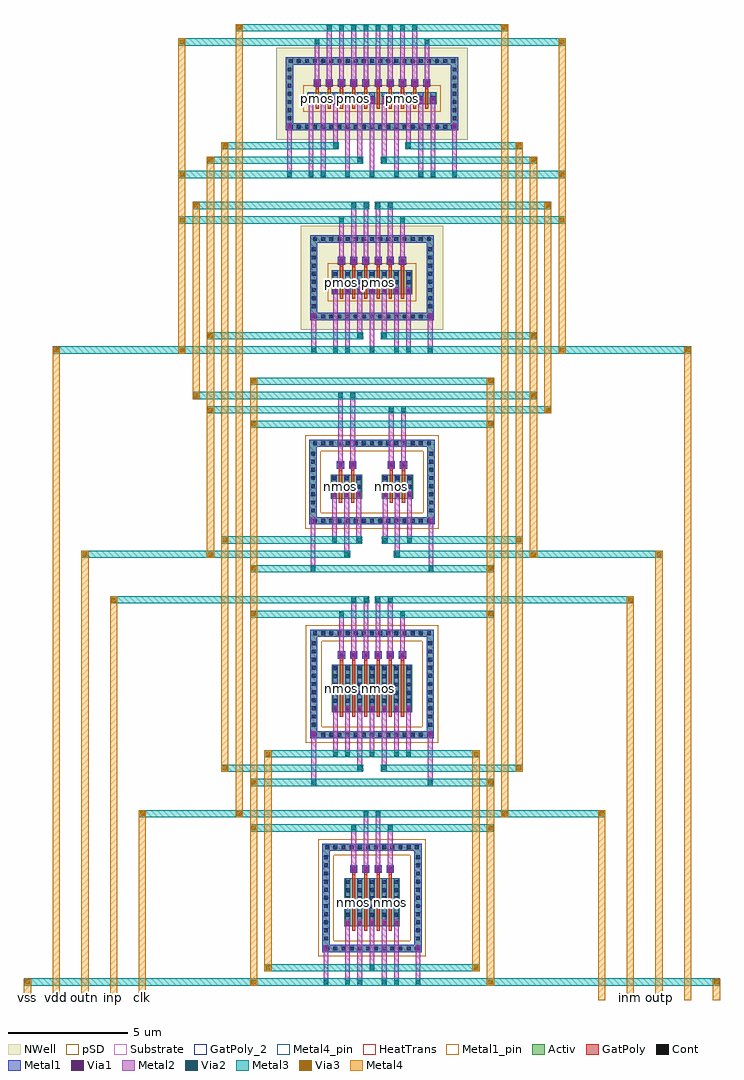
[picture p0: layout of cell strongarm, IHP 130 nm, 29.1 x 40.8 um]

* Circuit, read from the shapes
.subckt strongarm clk inm inp outn outp vdd vss
XM1 outn outp n1 vss sg13_lv_nmos w=1u l=0.13u m=2
XM2 n2 vss n2 vss sg13_lv_nmos w=2u l=0.13u m=2
XM3 vss vss vss vss sg13_lv_nmos w=2u l=0.13u m=2
XM4 n1 inp n2 vss sg13_lv_nmos w=2u l=0.13u m=2
XM5 n2 clk vss vss sg13_lv_nmos w=2u l=0.13u m=2
XM6 n3 inm n2 vss sg13_lv_nmos w=2u l=0.13u m=2
XM7 outp outn n3 vss sg13_lv_nmos w=1u l=0.13u m=2
XM8 vdd vdd vdd vdd sg13_lv_pmos w=0.5u l=0.13u m=2
XM9 n1 clk vdd vdd sg13_lv_pmos w=0.5u l=0.13u m=2
XM10 vdd vdd vdd vdd sg13_lv_pmos w=1u l=0.13u m=2
XM11 outn outp vdd vdd sg13_lv_pmos w=1u l=0.13u m=2
XM12 outn clk vdd vdd sg13_lv_pmos w=0.5u l=0.13u m=2
XM13 outp outn vdd vdd sg13_lv_pmos w=1u l=0.13u m=2
XM14 outp clk vdd vdd sg13_lv_pmos w=0.5u l=0.13u m=2
XM15 n3 clk vdd vdd sg13_lv_pmos w=0.5u l=0.13u m=2
.ends

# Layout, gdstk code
import gdstk
lib = gdstk.Library(unit=1e-6, precision=1e-09)
def R(c, l, rs):  # rectangles x0, y0, x1, y1
    for r in rs: c.add(gdstk.rectangle(r[:2], r[2:], *l))
def A(c, l, x, y, w, h, nx, ny, dx, dy):  # array of equal rectangles
    R(c, l, [(x+i*dx, y+j*dy, x+i*dx+w, y+j*dy+h) for i in range(nx) for j in range(ny)])
Activ = (1, 0)
GatPoly = (5, 0)
GatPoly_2 = (5, 2)
Cont = (6, 0)
Metal1 = (8, 0)
Metal1_pin = (8, 2)
Metal2 = (10, 0)
pSD = (14, 0)
Via1 = (19, 0)
Via2 = (29, 0)
Metal3 = (30, 0)
NWell = (31, 0)
Substrate = (40, 0)
Via3 = (49, 0)
Metal4 = (50, 0)
Metal4_pin = (50, 2)
HeatTrans = (51, 0)

strongarm = lib.new_cell('strongarm')
A(strongarm, Activ, 2.94, 2.48, 0.3, 0.3, 3, 1, 0.51, 0)
A(strongarm, Activ, 2.43, 11.42, 0.3, 0.3, 3, 2, 0.51, 17.48)
A(strongarm, Activ, 3.45, 11.42, 0.3, 0.3, 3, 2, 0.51, 17.48)
A(strongarm, Activ, 1.88, 20.36, 0.3, 0.3, 3, 1, 0.51, 0)
A(strongarm, Activ, 4, 20.36, 0.3, 0.3, 3, 1, 0.51, 0)
A(strongarm, Activ, 1.41, 36.84, 0.3, 0.3, 3, 1, 0.51, 0)
A(strongarm, Activ, 1.41, 36.84, 1.32, 0.5, 4, 1, 1.02, 0)
A(strongarm, Activ, 2.43, 36.84, 0.3, 0.3, 3, 1, 0.51, 0)
A(strongarm, Activ, 3.45, 36.84, 0.3, 0.3, 3, 1, 0.51, 0)
A(strongarm, Activ, 4.47, 36.84, 0.3, 0.3, 3, 1, 0.51, 0)
R(strongarm, Activ, [(1.53,1.4,5.67,1.7), (1.53,1.7,1.83,5.64), (5.37,1.7,5.67,5.64), (2.43,2.48,2.73,2.78), (2.43,2.48,3.24,4.48), (2.94,2.48,3.24,2.78), (2.94,2.48,4.26,4.48), (3.96,2.48,4.26,2.78), (3.96,2.48,4.77,4.48), (4.47,2.48,4.77,2.78), (1.53,5.64,5.67,5.94), (1.02,10.34,6.18,10.64), (1.02,10.64,1.32,14.58), (5.88,10.64,6.18,14.58), (1.92,11.42,2.22,11.72), (1.92,11.42,2.73,13.42), (2.43,11.42,2.73,11.72), (2.43,11.42,3.75,13.42), (3.45,11.42,4.77,13.42), (4.47,11.42,4.77,11.72), (4.47,11.42,5.28,13.42), (4.98,11.42,5.28,11.72), (1.02,14.58,6.18,14.88), (0.98,19.28,6.22,19.58), (0.98,19.58,1.28,22.52), (5.92,19.58,6.22,22.52), (1.88,20.36,3.2,21.36), (4,20.36,5.32,21.36), (0.98,22.52,6.22,22.82), (1.02,27.82,6.18,28.12), (1.02,28.12,1.32,31.06), (5.88,28.12,6.18,31.06), (1.92,28.9,2.22,29.2), (1.92,28.9,2.73,29.9), (2.43,28.9,2.73,29.2), (2.43,28.9,3.75,29.9), (3.45,28.9,4.77,29.9), (4.47,28.9,4.77,29.2), (4.47,28.9,5.28,29.9), (4.98,28.9,5.28,29.2), (1.02,31.06,6.18,31.36), (0,35.76,7.2,36.06), (0,36.06,0.3,38.5), (6.9,36.06,7.2,38.5), (0.9,36.84,1.2,37.14), (0.9,36.84,1.71,37.34), (1.41,36.84,1.71,37.14), (5.49,36.84,5.79,37.14), (5.49,36.84,6.3,37.34), (6,36.84,6.3,37.14), (0,38.5,7.2,38.8)])
A(strongarm, GatPoly, 2.77, 2.3, 0.13, 2.36, 4, 1, 0.51, 0)
A(strongarm, GatPoly, 2.77, 4.48, 0.13, 0.25, 4, 1, 0.51, 0)
A(strongarm, GatPoly, 2.685, 4.73, 0.3, 0.3, 4, 1, 0.51, 0)
A(strongarm, GatPoly, 2.26, 11.24, 0.13, 2.36, 6, 1, 0.51, 0)
A(strongarm, GatPoly, 2.26, 13.42, 0.13, 0.25, 6, 2, 0.51, 16.48)
A(strongarm, GatPoly, 2.175, 13.67, 0.3, 0.3, 6, 2, 0.51, 16.48)
A(strongarm, GatPoly, 2.77, 28.72, 0.13, 1.36, 3, 1, 0.51, 0)
A(strongarm, GatPoly, 3.79, 28.72, 0.13, 1.36, 3, 1, 0.51, 0)
A(strongarm, GatPoly, 1.75, 36.66, 0.13, 0.86, 3, 1, 0.51, 0)
A(strongarm, GatPoly, 2.77, 36.66, 0.13, 0.86, 3, 1, 0.51, 0)
A(strongarm, GatPoly, 3.79, 36.66, 0.13, 0.86, 3, 1, 0.51, 0)
A(strongarm, GatPoly, 4.81, 36.66, 0.13, 0.86, 3, 1, 0.51, 0)
A(strongarm, GatPoly, 1.24, 37.34, 0.13, 0.25, 10, 1, 0.51, 0)
A(strongarm, GatPoly, 1.155, 37.59, 0.3, 0.3, 10, 1, 0.51, 0)
R(strongarm, GatPoly, [(2.22,20.18,2.35,21.54), (2.73,20.18,2.86,21.54), (4.34,20.18,4.47,21.54), (4.85,20.18,4.98,21.54), (2.22,21.36,2.35,21.61), (2.73,21.36,2.86,21.61), (4.34,21.36,4.47,21.61), (4.85,21.36,4.98,21.61), (2.135,21.61,2.435,21.91), (2.645,21.61,2.945,21.91), (4.255,21.61,4.555,21.91), (4.765,21.61,5.065,21.91), (2.26,28.72,2.39,30.08), (2.26,28.72,2.39,30.08), (2.77,28.72,2.9,30.08), (4.81,28.72,4.94,30.08), (1.24,36.66,1.37,37.52), (1.24,36.66,1.37,37.52), (1.75,36.66,1.88,37.52), (5.83,36.66,5.96,37.52)])
A(strongarm, GatPoly_2, 2.77, 11.24, 0.13, 2.36, 3, 1, 1.02, 0)
R(strongarm, GatPoly_2, [(2.77,2.3,2.9,4.66), (3.28,2.3,3.41,4.66), (4.3,2.3,4.43,4.66), (2.26,11.24,2.39,13.6), (2.22,20.18,2.35,21.54), (4.34,20.18,4.47,21.54)])
A(strongarm, Cont, 1.65, 1.47, 0.16, 0.16, 12, 2, 0.34, 4.24)
A(strongarm, Cont, 1.6, 1.89, 0.16, 0.16, 1, 11, 0, 0.34)
A(strongarm, Cont, 5.44, 1.89, 0.16, 0.16, 1, 11, 0, 0.34)
A(strongarm, Cont, 2.5, 2.55, 0.16, 0.16, 1, 6, 0, 0.34)
A(strongarm, Cont, 3.01, 2.55, 0.16, 0.16, 1, 6, 0, 0.34)
A(strongarm, Cont, 3.01, 2.55, 0.16, 0.16, 3, 6, 0.51, 0.34)
A(strongarm, Cont, 4.03, 2.55, 0.16, 0.16, 1, 6, 0, 0.34)
A(strongarm, Cont, 4.54, 2.55, 0.16, 0.16, 1, 6, 0, 0.34)
A(strongarm, Cont, 2.755, 4.8, 0.16, 0.16, 4, 1, 0.51, 0)
A(strongarm, Cont, 1.14, 10.41, 0.16, 0.16, 15, 2, 0.34, 4.24)
A(strongarm, Cont, 1.09, 10.83, 0.16, 0.16, 1, 11, 0, 0.34)
A(strongarm, Cont, 5.95, 10.83, 0.16, 0.16, 1, 11, 0, 0.34)
A(strongarm, Cont, 1.99, 11.49, 0.16, 0.16, 1, 6, 0, 0.34)
A(strongarm, Cont, 2.5, 11.49, 0.16, 0.16, 1, 6, 0, 0.34)
A(strongarm, Cont, 2.5, 11.49, 0.16, 0.16, 3, 6, 0.51, 0.34)
A(strongarm, Cont, 3.52, 11.49, 0.16, 0.16, 3, 6, 0.51, 0.34)
A(strongarm, Cont, 4.54, 11.49, 0.16, 0.16, 1, 6, 0, 0.34)
A(strongarm, Cont, 5.05, 11.49, 0.16, 0.16, 1, 6, 0, 0.34)
A(strongarm, Cont, 2.245, 13.74, 0.16, 0.16, 6, 2, 0.51, 16.48)
A(strongarm, Cont, 1.14, 19.35, 0.16, 0.16, 15, 2, 0.34, 3.24)
A(strongarm, Cont, 1.05, 19.78, 0.16, 0.16, 1, 8, 0, 0.34)
A(strongarm, Cont, 5.99, 19.78, 0.16, 0.16, 1, 8, 0, 0.34)
A(strongarm, Cont, 1.95, 20.43, 0.16, 0.16, 3, 3, 0.51, 0.35)
A(strongarm, Cont, 4.07, 20.43, 0.16, 0.16, 3, 3, 0.51, 0.35)
A(strongarm, Cont, 1.14, 27.89, 0.16, 0.16, 15, 2, 0.34, 3.24)
A(strongarm, Cont, 1.09, 28.32, 0.16, 0.16, 1, 8, 0, 0.34)
A(strongarm, Cont, 5.95, 28.32, 0.16, 0.16, 1, 8, 0, 0.34)
A(strongarm, Cont, 1.99, 28.97, 0.16, 0.16, 1, 3, 0, 0.35)
A(strongarm, Cont, 2.5, 28.97, 0.16, 0.16, 1, 3, 0, 0.35)
A(strongarm, Cont, 2.5, 28.97, 0.16, 0.16, 3, 3, 0.51, 0.35)
A(strongarm, Cont, 3.52, 28.97, 0.16, 0.16, 3, 3, 0.51, 0.35)
A(strongarm, Cont, 4.54, 28.97, 0.16, 0.16, 1, 3, 0, 0.35)
A(strongarm, Cont, 5.05, 28.97, 0.16, 0.16, 1, 3, 0, 0.35)
A(strongarm, Cont, 0.12, 35.83, 0.16, 0.16, 21, 2, 0.34, 2.74)
A(strongarm, Cont, 0.07, 36.18, 0.16, 0.16, 1, 7, 0, 0.34)
A(strongarm, Cont, 6.97, 36.18, 0.16, 0.16, 1, 7, 0, 0.34)
A(strongarm, Cont, 1.48, 37.01, 0.16, 0.16, 3, 1, 0.51, 0)
A(strongarm, Cont, 2.5, 37.01, 0.16, 0.16, 3, 1, 0.51, 0)
A(strongarm, Cont, 3.52, 37.01, 0.16, 0.16, 3, 1, 0.51, 0)
A(strongarm, Cont, 4.54, 37.01, 0.16, 0.16, 3, 1, 0.51, 0)
A(strongarm, Cont, 1.225, 37.66, 0.16, 0.16, 10, 1, 0.51, 0)
R(strongarm, Cont, [(2.205,21.68,2.365,21.84), (2.715,21.68,2.875,21.84), (4.325,21.68,4.485,21.84), (4.835,21.68,4.995,21.84), (0.97,37.01,1.13,37.17), (1.48,37.01,1.64,37.17), (5.56,37.01,5.72,37.17), (6.07,37.01,6.23,37.17)])
A(strongarm, Metal1, 2.475, 2.48, 0.21, 2, 5, 1, 0.51, 0)
A(strongarm, Metal1, 3.01, 2.48, 0.16, 2, 3, 1, 0.51, 0)
A(strongarm, Metal1, 2.685, 4.72, 0.3, 0.32, 4, 1, 0.51, 0)
A(strongarm, Metal1, 1.965, 11.42, 0.21, 2, 7, 1, 0.51, 0)
A(strongarm, Metal1, 2.5, 11.42, 0.16, 2, 3, 1, 0.51, 0)
A(strongarm, Metal1, 3.52, 11.42, 0.16, 2, 3, 1, 0.51, 0)
A(strongarm, Metal1, 2.175, 13.66, 0.3, 0.32, 6, 2, 0.51, 16.48)
A(strongarm, Metal1, 1.925, 20.36, 0.21, 1, 3, 1, 0.51, 0)
A(strongarm, Metal1, 1.95, 20.36, 0.16, 1, 3, 1, 0.51, 0)
A(strongarm, Metal1, 4.045, 20.36, 0.21, 1, 3, 1, 0.51, 0)
A(strongarm, Metal1, 4.07, 20.36, 0.16, 1, 3, 1, 0.51, 0)
A(strongarm, Metal1, 1.965, 28.9, 0.21, 1, 7, 1, 0.51, 0)
A(strongarm, Metal1, 0.945, 36.84, 0.21, 0.5, 11, 1, 0.51, 0)
A(strongarm, Metal1, 1.155, 37.58, 0.3, 0.32, 10, 1, 0.51, 0)
R(strongarm, Metal1, [(1.53,1.4,5.67,1.7), (1.53,1.7,1.83,5.64), (5.37,1.7,5.67,5.64), (2.5,2.48,2.66,4.48), (3.01,2.48,3.17,4.48), (4.03,2.48,4.19,4.48), (4.54,2.48,4.7,4.48), (1.53,5.64,5.67,5.94), (1.02,10.34,6.18,10.64), (1.02,10.64,1.32,14.58), (5.88,10.64,6.18,14.58), (1.99,11.42,2.15,13.42), (2.5,11.42,2.66,13.42), (4.54,11.42,4.7,13.42), (5.05,11.42,5.21,13.42), (1.02,14.58,6.18,14.88), (0.98,19.28,6.22,19.58), (0.98,19.58,1.28,22.52), (5.92,19.58,6.22,22.52), (2.135,21.6,2.435,21.92), (2.645,21.6,2.945,21.92), (4.255,21.6,4.555,21.92), (4.765,21.6,5.065,21.92), (0.98,22.52,6.22,22.82), (1.02,27.82,6.18,28.12), (1.02,28.12,1.32,31.06), (5.88,28.12,6.18,31.06), (1.99,28.9,2.15,29.9), (1.99,28.9,2.15,29.9), (2.5,28.9,2.66,29.9), (2.5,28.9,2.66,29.9), (2.5,28.9,2.66,29.9), (2.5,28.9,2.66,29.9), (3.01,28.9,3.17,29.9), (3.01,28.9,3.17,29.9), (3.52,28.9,3.68,29.9), (3.52,28.9,3.68,29.9), (3.52,28.9,3.68,29.9), (4.03,28.9,4.19,29.9), (4.03,28.9,4.19,29.9), (4.54,28.9,4.7,29.9), (4.54,28.9,4.7,29.9), (4.54,28.9,4.7,29.9), (5.05,28.9,5.21,29.9), (5.05,28.9,5.21,29.9), (1.02,31.06,6.18,31.36), (0,35.76,7.2,36.06), (0,36.06,0.3,38.5), (6.9,36.06,7.2,38.5), (0.97,36.84,1.13,37.34), (0.97,36.84,1.13,37.34), (1.48,36.84,1.64,37.34), (1.48,36.84,1.64,37.34), (1.48,36.84,1.64,37.34), (1.48,36.84,1.64,37.34), (1.99,36.84,2.15,37.34), (1.99,36.84,2.15,37.34), (2.5,36.84,2.66,37.34), (2.5,36.84,2.66,37.34), (2.5,36.84,2.66,37.34), (3.01,36.84,3.17,37.34), (3.01,36.84,3.17,37.34), (3.52,36.84,3.68,37.34), (3.52,36.84,3.68,37.34), (3.52,36.84,3.68,37.34), (4.03,36.84,4.19,37.34), (4.03,36.84,4.19,37.34), (4.54,36.84,4.7,37.34), (4.54,36.84,4.7,37.34), (4.54,36.84,4.7,37.34), (5.05,36.84,5.21,37.34), (5.05,36.84,5.21,37.34), (5.56,36.84,5.72,37.34), (5.56,36.84,5.72,37.34), (5.56,36.84,5.72,37.34), (6.07,36.84,6.23,37.34), (6.07,36.84,6.23,37.34), (0,38.5,7.2,38.8)])
A(strongarm, Metal1_pin, 3.01, 2.48, 0.16, 2, 4, 1, 0.51, 0)
A(strongarm, Metal1_pin, 2.5, 11.42, 0.16, 2, 6, 1, 0.51, 0)
R(strongarm, Metal1_pin, [(2.5,2.48,2.66,4.48), (3.01,2.48,3.17,4.48), (1.99,11.42,2.15,13.42), (2.5,11.42,2.66,13.42), (1.95,20.36,2.11,21.36), (2.46,20.36,2.62,21.36), (4.07,20.36,4.23,21.36), (4.58,20.36,4.74,21.36)])
A(strongarm, Metal2, 2.48, 9.545, 0.2, 2.165, 3, 1, 1.02, 0)
A(strongarm, Metal2, 2.735, 13.675, 0.2, 2.6, 4, 2, 0.51, 16.48)
A(strongarm, Metal2, 2.48, 26.425, 0.2, 2.765, 3, 1, 1.02, 0)
A(strongarm, Metal2, 1.46, 33.765, 0.2, 3.365, 5, 1, 1.02, 0)
A(strongarm, Metal2, 1.715, 37.595, 0.2, 2.6, 8, 1, 0.51, 0)
R(strongarm, Metal2, [(1.58,0.005,1.78,1.695), (2.48,0.005,2.68,2.77), (2.99,0.005,3.19,2.77), (4.01,0.005,4.21,2.77), (4.52,0.005,4.72,2.77), (5.42,0.005,5.62,1.695), (3.5,0.605,3.7,2.77), (2.735,4.735,2.935,6.735), (3.245,4.735,3.445,7.335), (3.755,4.735,3.955,7.335), (4.265,4.735,4.465,6.735), (1.07,8.345,1.27,10.635), (5.93,8.345,6.13,10.635), (2.99,8.945,3.19,11.71), (4.01,8.945,4.21,11.71), (1.97,9.545,2.17,11.71), (5.03,9.545,5.23,11.71), (2.225,13.675,2.425,15.675), (4.775,13.675,4.975,15.675), (1.03,17.285,1.23,19.575), (5.97,17.285,6.17,19.575), (2.44,17.885,2.64,20.65), (4.56,17.885,4.76,20.65), (1.93,18.485,2.13,20.65), (2.95,18.485,3.15,20.65), (4.05,18.485,4.25,20.65), (5.07,18.485,5.27,20.65), (2.185,21.615,2.385,24.815), (2.695,21.615,2.895,24.815), (4.305,21.615,4.505,24.215), (4.815,21.615,5.015,24.215), (1.07,26.425,1.27,28.115), (1.97,26.425,2.17,29.19), (5.03,26.425,5.23,29.19), (5.93,26.425,6.13,28.115), (2.99,27.025,3.19,29.19), (4.01,27.025,4.21,29.19), (2.225,30.155,2.425,32.155), (4.775,30.155,4.975,32.155), (0.05,33.765,0.25,36.055), (0.95,33.765,1.15,37.13), (6.05,33.765,6.25,37.13), (6.95,33.765,7.15,36.055), (2.99,34.365,3.19,37.13), (4.01,34.365,4.21,37.13), (1.97,34.965,2.17,37.13), (5.03,34.965,5.23,37.13), (1.205,37.595,1.405,39.595), (5.795,37.595,5.995,39.595)])
A(strongarm, pSD, 1.23, 36.54, 1.68, 1.1, 4, 1, 1.02, 0)
R(strongarm, pSD, [(1.35,1.22,5.85,1.88), (1.35,1.52,2.01,5.82), (5.19,1.52,5.85,5.82), (1.35,5.46,5.85,6.12), (0.84,10.16,6.36,10.82), (0.84,10.46,1.5,14.76), (5.7,10.46,6.36,14.76), (0.84,14.4,6.36,15.06), (0.8,19.1,6.4,19.76), (0.8,19.4,1.46,22.7), (5.74,19.4,6.4,22.7), (0.8,22.34,6.4,23), (1.74,28.6,2.91,30.2), (2.25,28.6,3.93,30.2), (3.27,28.6,4.95,30.2), (4.29,28.6,5.46,30.2), (0.72,36.54,1.89,37.64), (5.31,36.54,6.48,37.64)])
A(strongarm, Via1, 2.485, 2.53, 0.19, 0.19, 5, 1, 0.51, 0)
A(strongarm, Via1, 2.74, 4.785, 0.19, 0.19, 4, 1, 0.51, 0)
A(strongarm, Via1, 1.975, 11.47, 0.19, 0.19, 7, 2, 0.51, 17.48)
A(strongarm, Via1, 2.23, 13.725, 0.19, 0.19, 6, 2, 0.51, 16.48)
A(strongarm, Via1, 1.935, 20.41, 0.19, 0.19, 3, 1, 0.51, 0)
A(strongarm, Via1, 4.055, 20.41, 0.19, 0.19, 3, 1, 0.51, 0)
A(strongarm, Via1, 0.955, 36.89, 0.19, 0.19, 11, 1, 0.51, 0)
A(strongarm, Via1, 1.21, 37.645, 0.19, 0.19, 10, 1, 0.51, 0)
R(strongarm, Via1, [(1.585,1.455,1.775,1.645), (5.425,1.455,5.615,1.645), (1.075,10.395,1.265,10.585), (5.935,10.395,6.125,10.585), (1.035,19.335,1.225,19.525), (5.975,19.335,6.165,19.525), (2.19,21.665,2.38,21.855), (2.7,21.665,2.89,21.855), (4.31,21.665,4.5,21.855), (4.82,21.665,5.01,21.855), (1.075,27.875,1.265,28.065), (5.935,27.875,6.125,28.065), (0.055,35.815,0.245,36.005), (6.955,35.815,7.145,36.005)])
A(strongarm, Via2, 2.485, 9.595, 0.19, 0.19, 3, 2, 1.02, 16.88)
A(strongarm, Via2, 2.74, 16.035, 0.19, 0.19, 4, 2, 0.51, 16.48)
A(strongarm, Via2, 1.465, 33.815, 0.19, 0.19, 5, 1, 1.02, 0)
A(strongarm, Via2, 1.72, 39.955, 0.19, 0.19, 8, 1, 0.51, 0)
R(strongarm, Via2, [(1.585,0.055,1.775,0.245), (2.485,0.055,2.675,0.245), (2.995,0.055,3.185,0.245), (4.015,0.055,4.205,0.245), (4.525,0.055,4.715,0.245), (5.425,0.055,5.615,0.245), (3.505,0.655,3.695,0.845), (2.74,6.495,2.93,6.685), (4.27,6.495,4.46,6.685), (3.25,7.095,3.44,7.285), (3.76,7.095,3.95,7.285), (1.075,8.395,1.265,8.585), (5.935,8.395,6.125,8.585), (2.995,8.995,3.185,9.185), (4.015,8.995,4.205,9.185), (1.975,9.595,2.165,9.785), (5.035,9.595,5.225,9.785), (2.23,15.435,2.42,15.625), (4.78,15.435,4.97,15.625), (1.035,17.335,1.225,17.525), (5.975,17.335,6.165,17.525), (2.445,17.935,2.635,18.125), (4.565,17.935,4.755,18.125), (1.935,18.535,2.125,18.725), (2.955,18.535,3.145,18.725), (4.055,18.535,4.245,18.725), (5.075,18.535,5.265,18.725), (4.31,23.975,4.5,24.165), (4.82,23.975,5.01,24.165), (2.19,24.575,2.38,24.765), (2.7,24.575,2.89,24.765), (1.075,26.475,1.265,26.665), (1.975,26.475,2.165,26.665), (5.035,26.475,5.225,26.665), (5.935,26.475,6.125,26.665), (2.995,27.075,3.185,27.265), (4.015,27.075,4.205,27.265), (2.23,31.915,2.42,32.105), (4.78,31.915,4.97,32.105), (0.055,33.815,0.245,34.005), (0.955,33.815,1.145,34.005), (6.055,33.815,6.245,34.005), (6.955,33.815,7.145,34.005), (2.995,34.415,3.185,34.605), (4.015,34.415,4.205,34.605), (1.975,35.015,2.165,35.205), (5.035,35.015,5.225,35.205), (1.21,39.355,1.4,39.545), (5.8,39.355,5.99,39.545)])
R(strongarm, Metal3, [(-10.945,0,-1.195,0.3), (-1.495,0,8.695,0.3), (8.395,0,18.145,0.3), (-0.895,0.6,8.095,0.9), (-1.495,6.44,8.695,6.74), (-6.145,7.04,-1.795,7.34), (-2.095,7.04,9.295,7.34), (8.995,7.04,13.345,7.34), (-1.495,8.34,8.695,8.64), (-2.695,8.94,3.24,9.24), (3.96,8.94,9.895,9.24), (-0.895,9.54,8.095,9.84), (-1.495,15.38,8.695,15.68), (-7.345,15.98,2.985,16.28), (2.685,15.98,3.495,16.28), (3.705,15.98,4.515,16.28), (4.215,15.98,14.545,16.28), (-1.495,17.28,8.695,17.58), (-8.545,17.88,-2.995,18.18), (-3.295,17.88,2.69,18.18), (4.51,17.88,10.495,18.18), (10.195,17.88,15.745,18.18), (-2.695,18.48,3.2,18.78), (4,18.48,9.895,18.78), (-1.495,23.32,8.695,23.62), (-3.295,23.92,11.095,24.22), (-3.895,24.52,10.495,24.82), (-1.495,25.12,8.695,25.42), (-9.745,26.42,-4.195,26.72), (-4.495,26.42,11.695,26.72), (11.395,26.42,16.945,26.72), (-3.295,27.02,3.24,27.32), (3.96,27.02,10.495,27.32), (-4.495,31.86,11.695,32.16), (-3.895,32.46,3.495,32.76), (3.705,32.46,11.095,32.76), (-4.495,33.76,11.695,34.06), (-3.295,34.36,3.24,34.66), (3.96,34.36,10.495,34.66), (-2.695,34.96,2.22,35.26), (4.98,34.96,9.895,35.26), (-4.495,39.3,11.695,39.6), (-2.095,39.9,9.295,40.2)])
A(strongarm, NWell, 1.1, 36.53, 1.94, 1.12, 4, 1, 1.02, 0)
R(strongarm, NWell, [(0.62,27.42,6.58,31.76), (1.61,28.59,3.04,30.21), (2.12,28.59,4.06,30.21), (3.14,28.59,5.08,30.21), (4.16,28.59,5.59,30.21), (-0.4,35.36,7.6,39.2), (0.59,36.53,2.02,37.65), (5.18,36.53,6.61,37.65)])
A(strongarm, Substrate, 2.43, 28.9, 0.3, 0.3, 3, 1, 1.02, 0)
A(strongarm, Substrate, 1.41, 36.84, 0.3, 0.3, 5, 1, 1.02, 0)
R(strongarm, Substrate, [(4.98,28.9,5.28,29.2), (6,36.84,6.3,37.14)])
R(strongarm, Via3, [(-10.895,0.055,-10.705,0.245), (-1.445,0.055,-1.255,0.245), (8.455,0.055,8.645,0.245), (17.905,0.055,18.095,0.245), (-0.845,0.655,-0.655,0.845), (7.855,0.655,8.045,0.845), (-1.445,6.495,-1.255,6.685), (8.455,6.495,8.645,6.685), (-6.095,7.095,-5.905,7.285), (-2.045,7.095,-1.855,7.285), (9.055,7.095,9.245,7.285), (13.105,7.095,13.295,7.285), (-1.445,8.395,-1.255,8.585), (8.455,8.395,8.645,8.585), (-2.645,8.995,-2.455,9.185), (9.655,8.995,9.845,9.185), (-0.845,9.595,-0.655,9.785), (7.855,9.595,8.045,9.785), (-1.445,15.435,-1.255,15.625), (8.455,15.435,8.645,15.625), (-7.295,16.035,-7.105,16.225), (14.305,16.035,14.495,16.225), (-1.445,17.335,-1.255,17.525), (8.455,17.335,8.645,17.525), (-8.495,17.935,-8.305,18.125), (-3.245,17.935,-3.055,18.125), (10.255,17.935,10.445,18.125), (15.505,17.935,15.695,18.125), (-2.645,18.535,-2.455,18.725), (9.655,18.535,9.845,18.725), (-1.445,23.375,-1.255,23.565), (8.455,23.375,8.645,23.565), (-3.245,23.975,-3.055,24.165), (10.855,23.975,11.045,24.165), (-3.845,24.575,-3.655,24.765), (10.255,24.575,10.445,24.765), (-1.445,25.175,-1.255,25.365), (8.455,25.175,8.645,25.365), (-9.695,26.475,-9.505,26.665), (-4.445,26.475,-4.255,26.665), (11.455,26.475,11.645,26.665), (16.705,26.475,16.895,26.665), (-3.245,27.075,-3.055,27.265), (10.255,27.075,10.445,27.265), (-4.445,31.915,-4.255,32.105), (11.455,31.915,11.645,32.105), (-3.845,32.515,-3.655,32.705), (10.855,32.515,11.045,32.705), (-4.445,33.815,-4.255,34.005), (11.455,33.815,11.645,34.005), (-3.245,34.415,-3.055,34.605), (10.255,34.415,10.445,34.605), (-2.645,35.015,-2.455,35.205), (9.655,35.015,9.845,35.205), (-4.445,39.355,-4.255,39.545), (11.455,39.355,11.645,39.545), (-2.045,39.955,-1.855,40.145), (9.055,39.955,9.245,40.145)])
R(strongarm, Metal4, [(-10.95,-0.6,-10.65,0.295), (-9.75,-0.6,-9.45,26.715), (-8.55,-0.6,-8.25,18.175), (-7.35,-0.6,-7.05,16.275), (-6.15,-0.6,-5.85,7.335), (13.05,-0.6,13.35,7.335), (14.25,-0.6,14.55,16.275), (15.45,-0.6,15.75,18.175), (16.65,-0.6,16.95,26.715), (17.85,-0.6,18.15,0.295), (-1.5,0.005,-1.2,25.415), (8.4,0.005,8.7,25.415), (-0.9,0.605,-0.6,9.835), (7.8,0.605,8.1,9.835), (-2.1,7.045,-1.8,40.195), (9,7.045,9.3,40.195), (-2.7,8.945,-2.4,35.255), (9.6,8.945,9.9,35.255), (-3.3,17.885,-3,34.655), (10.2,17.885,10.5,34.655), (10.8,23.925,11.1,32.755), (-3.9,24.525,-3.6,32.755), (-4.5,26.425,-4.2,39.595), (11.4,26.425,11.7,39.595)])
A(strongarm, Metal4_pin, -10.9, -0.6, 0.2, 0.2, 5, 1, 1.2, 0)
R(strongarm, Metal4_pin, [(14.3,-0.6,14.5,-0.4), (15.5,-0.6,15.7,-0.4)])
A(strongarm, HeatTrans, 2.77, 2.3, 0.13, 2.36, 4, 1, 0.51, 0)
A(strongarm, HeatTrans, 2.26, 11.24, 0.13, 2.36, 6, 1, 0.51, 0)
A(strongarm, HeatTrans, 2.26, 28.72, 0.13, 1.36, 6, 1, 0.51, 0)
A(strongarm, HeatTrans, 1.24, 36.66, 0.13, 0.86, 10, 1, 0.51, 0)
R(strongarm, HeatTrans, [(2.22,20.18,2.35,21.54), (2.73,20.18,2.86,21.54), (4.34,20.18,4.47,21.54), (4.85,20.18,4.98,21.54)])
strongarm.add(gdstk.Label('nmos', (2.835,3.48), layer=63, texttype=0))
strongarm.add(gdstk.Label('nmos', (3.345,3.48), layer=63, texttype=0))
strongarm.add(gdstk.Label('nmos', (4.365,3.48), layer=63, texttype=0))
strongarm.add(gdstk.Label('nmos', (2.325,12.42), layer=63, texttype=0))
strongarm.add(gdstk.Label('nmos', (2.835,12.42), layer=63, texttype=0))
strongarm.add(gdstk.Label('nmos', (3.855,12.42), layer=63, texttype=0))
strongarm.add(gdstk.Label('nmos', (4.875,12.42), layer=63, texttype=0))
strongarm.add(gdstk.Label('nmos', (2.285,20.86), layer=63, texttype=0))
strongarm.add(gdstk.Label('nmos', (4.405,20.86), layer=63, texttype=0))
strongarm.add(gdstk.Label('pmos', (2.325,29.4), layer=63, texttype=0))
strongarm.add(gdstk.Label('pmos', (2.835,29.4), layer=63, texttype=0))
strongarm.add(gdstk.Label('pmos', (3.855,29.4), layer=63, texttype=0))
strongarm.add(gdstk.Label('pmos', (4.875,29.4), layer=63, texttype=0))
strongarm.add(gdstk.Label('pmos', (1.305,37.09), layer=63, texttype=0))
strongarm.add(gdstk.Label('pmos', (1.815,37.09), layer=63, texttype=0))
strongarm.add(gdstk.Label('pmos', (2.835,37.09), layer=63, texttype=0))
strongarm.add(gdstk.Label('pmos', (3.855,37.09), layer=63, texttype=0))
strongarm.add(gdstk.Label('pmos', (4.875,37.09), layer=63, texttype=0))
strongarm.add(gdstk.Label('pmos', (5.895,37.09), layer=63, texttype=0))
strongarm.add(gdstk.Label('nmos', (2.835,3.48), layer=51, texttype=0))
strongarm.add(gdstk.Label('nmos', (3.345,3.48), layer=51, texttype=0))
strongarm.add(gdstk.Label('nmos', (3.855,3.48), layer=51, texttype=0))
strongarm.add(gdstk.Label('nmos', (4.365,3.48), layer=51, texttype=0))
strongarm.add(gdstk.Label('nmos', (2.325,12.42), layer=51, texttype=0))
strongarm.add(gdstk.Label('nmos', (2.835,12.42), layer=51, texttype=0))
strongarm.add(gdstk.Label('nmos', (3.345,12.42), layer=51, texttype=0))
strongarm.add(gdstk.Label('nmos', (3.855,12.42), layer=51, texttype=0))
strongarm.add(gdstk.Label('nmos', (4.365,12.42), layer=51, texttype=0))
strongarm.add(gdstk.Label('nmos', (4.875,12.42), layer=51, texttype=0))
strongarm.add(gdstk.Label('nmos', (2.285,20.86), layer=51, texttype=0))
strongarm.add(gdstk.Label('nmos', (2.795,20.86), layer=51, texttype=0))
strongarm.add(gdstk.Label('nmos', (4.405,20.86), layer=51, texttype=0))
strongarm.add(gdstk.Label('nmos', (4.915,20.86), layer=51, texttype=0))
strongarm.add(gdstk.Label('pmos', (2.325,29.4), layer=51, texttype=0))
strongarm.add(gdstk.Label('pmos', (2.835,29.4), layer=51, texttype=0))
strongarm.add(gdstk.Label('pmos', (3.345,29.4), layer=51, texttype=0))
strongarm.add(gdstk.Label('pmos', (3.855,29.4), layer=51, texttype=0))
strongarm.add(gdstk.Label('pmos', (4.365,29.4), layer=51, texttype=0))
strongarm.add(gdstk.Label('pmos', (4.875,29.4), layer=51, texttype=0))
strongarm.add(gdstk.Label('pmos', (1.305,37.09), layer=51, texttype=0))
strongarm.add(gdstk.Label('pmos', (1.815,37.09), layer=51, texttype=0))
strongarm.add(gdstk.Label('pmos', (2.325,37.09), layer=51, texttype=0))
strongarm.add(gdstk.Label('pmos', (2.835,37.09), layer=51, texttype=0))
strongarm.add(gdstk.Label('pmos', (3.345,37.09), layer=51, texttype=0))
strongarm.add(gdstk.Label('pmos', (3.855,37.09), layer=51, texttype=0))
strongarm.add(gdstk.Label('pmos', (4.365,37.09), layer=51, texttype=0))
strongarm.add(gdstk.Label('pmos', (4.875,37.09), layer=51, texttype=0))
strongarm.add(gdstk.Label('pmos', (5.385,37.09), layer=51, texttype=0))
strongarm.add(gdstk.Label('pmos', (5.895,37.09), layer=51, texttype=0))
strongarm.add(gdstk.Label('clk', (-6,-0.5), layer=50, texttype=2))
strongarm.add(gdstk.Label('inm', (14.4,-0.5), layer=50, texttype=2))
strongarm.add(gdstk.Label('inp', (-7.2,-0.5), layer=50, texttype=2))
strongarm.add(gdstk.Label('outn', (-8.4,-0.5), layer=50, texttype=2))
strongarm.add(gdstk.Label('outp', (15.6,-0.5), layer=50, texttype=2))
strongarm.add(gdstk.Label('vdd', (-9.6,-0.5), layer=50, texttype=2))
strongarm.add(gdstk.Label('vss', (-10.8,-0.5), layer=50, texttype=2))
strongarm.add(gdstk.Label('clk', (-6,-0.5), layer=50, texttype=25))
strongarm.add(gdstk.Label('inm', (14.4,-0.5), layer=50, texttype=25))
strongarm.add(gdstk.Label('inp', (-7.2,-0.5), layer=50, texttype=25))
strongarm.add(gdstk.Label('outn', (-8.4,-0.5), layer=50, texttype=25))
strongarm.add(gdstk.Label('outp', (15.6,-0.5), layer=50, texttype=25))
strongarm.add(gdstk.Label('vdd', (-9.6,-0.5), layer=50, texttype=25))
strongarm.add(gdstk.Label('vss', (-10.8,-0.5), layer=50, texttype=25))

lib.write_gds('strongarm.gds')
